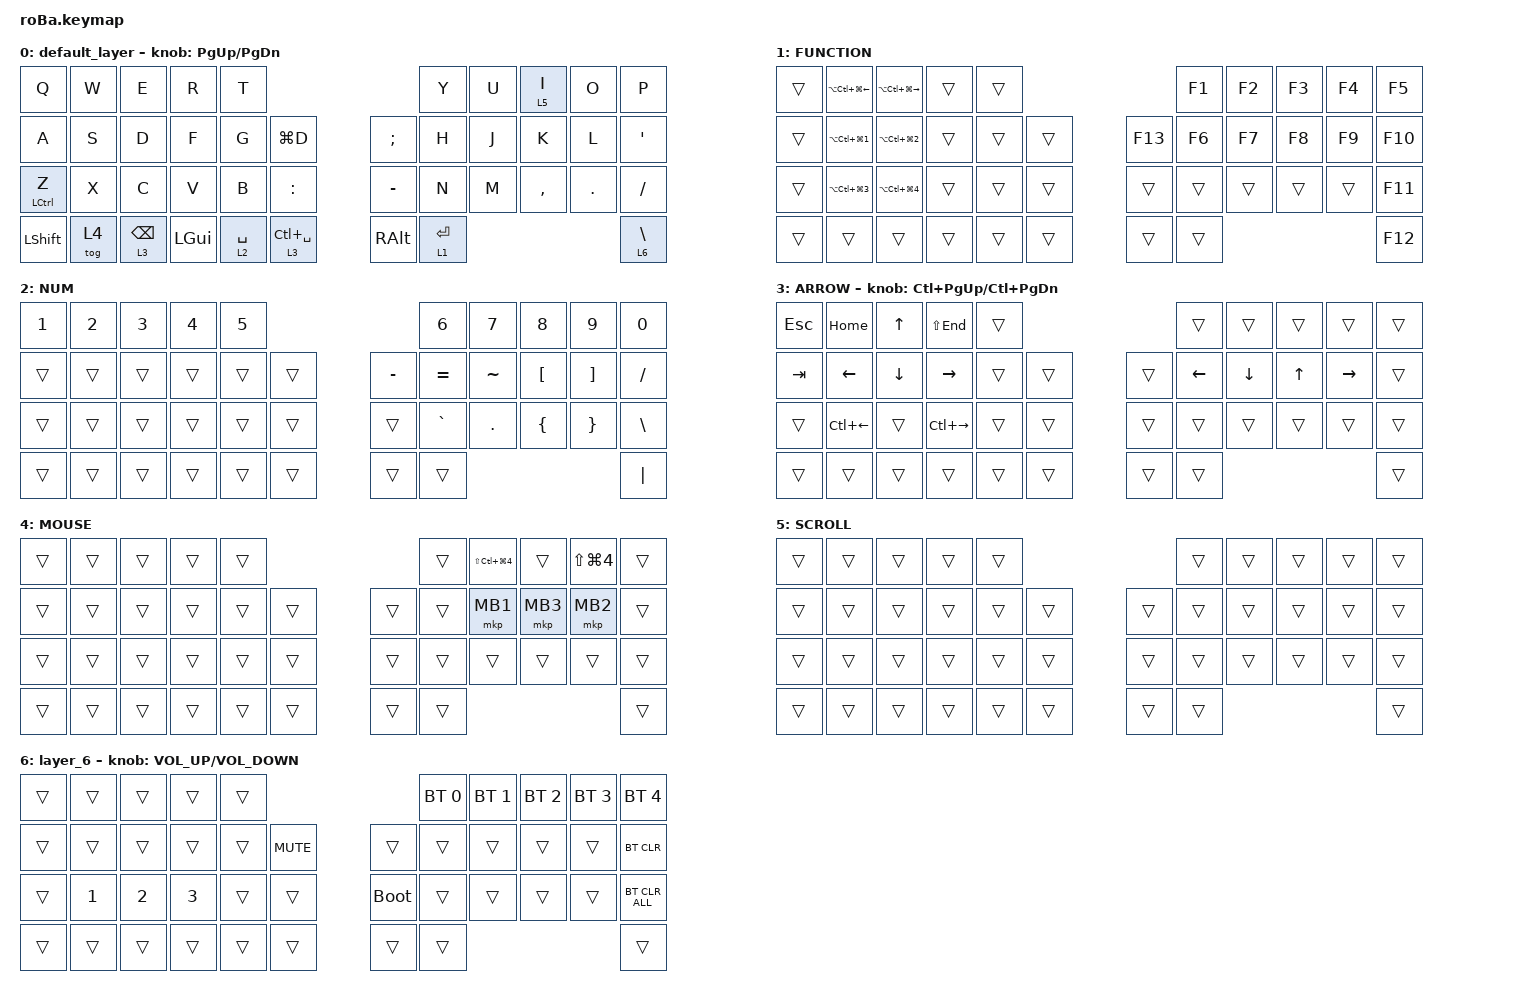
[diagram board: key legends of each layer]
#include <behaviors.dtsi>
#include <dt-bindings/zmk/bt.h>
#include <dt-bindings/zmk/keys.h>
#include <dt-bindings/zmk/pointing.h>

&mt {
    flavor = "balanced";
    quick-tap-ms = <0>;
};

&trackball {
    automouse-layer = <4>;
    scroll-layers = <5>;

    // arrows {
    //     layers = <3>;
    //     bindings =
    //         <&kp RIGHT_ARROW>,
    //         <&kp LEFT_ARROW>,
    //         <&kp UP_ARROW>,
    //         <&kp DOWN_ARROW>;
    //     tick = <10>;
    //     wait-ms = <5>;
    //     tap-ms = <5>;
    // };
};

/ {
    combos {
        compatible = "zmk,combos";

        tab {
            bindings = <&kp TAB>;
            key-positions = <11 12>;
        };

        shift_tab {
            bindings = <&kp LS(TAB)>;
            key-positions = <12 13>;
        };

        muhennkann {
            bindings = <&to_layer_0 INT_MUHENKAN>;
            key-positions = <11 10>;
        };

        double_quotation {
            bindings = <&kp DOUBLE_QUOTES>;
            key-positions = <20 21>;
        };

        eq {
            bindings = <&kp EQUAL>;
            key-positions = <24 25>;
        };
    };

    macros {
        to_layer_0: to_layer_0 {
            compatible = "zmk,behavior-macro-one-param";
            #binding-cells = <1>;
            bindings = <&to 0 &macro_param_1to1 &kp MACRO_PLACEHOLDER>;
            label = "TO_LAYER_0";
        };
    };

    behaviors {
        lt_to_layer_0: lt_to_layer_0 {
            compatible = "zmk,behavior-hold-tap";
            label = "LAYER_TAP_TO_0";
            bindings = <&mo>, <&to_layer_0>;

            #binding-cells = <2>;
            tapping-term-ms = <200>;
        };
    };

    keymap {
        compatible = "zmk,keymap";

        default_layer {
            bindings = <
&kp Q           &kp W   &kp E                       &kp R         &kp T                                                       &kp Y        &kp U  &lt 5 I    &kp O    &kp P
&kp A           &kp S   &kp D                       &kp F         &kp G        &kp LG(D)                       &kp SEMICOLON  &kp H        &kp J  &kp K      &kp L    &kp SQT
&mt LCTRL Z     &kp X   &kp C                       &kp V         &kp B        &kp COLON                       &kp MINUS      &kp N        &kp M  &kp COMMA  &kp DOT  &kp SLASH
&kp LEFT_SHIFT  &tog 4  &lt_to_layer_0 3 BACKSPACE  &kp LEFT_GUI  &lt 2 SPACE  &lt_to_layer_0 3 LC(SPACE)      &kp RIGHT_ALT  &lt 1 ENTER                             &lt 6 BACKSLASH
            >;

            sensor-bindings = <&inc_dec_kp PAGE_UP PAGE_DOWN>;
        };

        FUNCTION {
            bindings = <
&trans  &kp LA(LC(LG(LEFT_ARROW)))  &kp LA(LC(LG(RIGHT_ARROW)))  &trans  &trans                       &kp F1  &kp F2  &kp F3  &kp F4  &kp F5
&trans  &kp LA(LC(LG(NUMBER_1)))    &kp LA(LC(LG(NUMBER_2)))     &trans  &trans  &trans      &kp F13  &kp F6  &kp F7  &kp F8  &kp F9  &kp F10
&trans  &kp LA(LC(LG(NUMBER_3)))    &kp LA(LC(LG(NUMBER_4)))     &trans  &trans  &trans      &trans   &trans  &trans  &trans  &trans  &kp F11
&trans  &trans                      &trans                       &trans  &trans  &trans      &trans   &trans                          &kp F12
            >;
        };

        NUM {
            bindings = <
&kp NUMBER_1  &kp NUMBER_2  &kp NUMBER_3  &kp NUMBER_4  &kp NUMBER_5                         &kp NUMBER_6  &kp NUMBER_7  &kp N8            &kp N9             &kp NUMBER_0
&trans        &trans        &trans        &trans        &trans        &trans      &kp MINUS  &kp EQUAL     &kp TILDE     &kp LEFT_BRACKET  &kp RIGHT_BRACKET  &kp SLASH
&trans        &trans        &trans        &trans        &trans        &trans      &trans     &kp GRAVE     &kp PERIOD    &kp LEFT_BRACE    &kp RIGHT_BRACE    &kp BACKSLASH
&trans        &trans        &trans        &trans        &trans        &trans      &trans     &trans                                                           &kp PIPE
            >;
        };

        ARROW {
            bindings = <
&kp ESCAPE  &kp HOME            &kp UP_ARROW    &kp LS(END)          &trans                      &trans          &trans          &trans        &trans           &trans
&kp TAB     &kp LEFT_ARROW      &kp DOWN_ARROW  &kp RIGHT_ARROW      &trans  &trans      &trans  &kp LEFT_ARROW  &kp DOWN_ARROW  &kp UP_ARROW  &kp RIGHT_ARROW  &trans
&trans      &kp LC(LEFT_ARROW)  &trans          &kp LC(RIGHT_ARROW)  &trans  &trans      &trans  &trans          &trans          &trans        &trans           &trans
&trans      &trans              &trans          &trans               &trans  &trans      &trans  &trans                                                         &trans
            >;

            sensor-bindings = <&inc_dec_kp LC(PAGE_UP) LC(PAGE_DOWN)>;
        };

        MOUSE {
            bindings = <
&trans  &trans  &trans  &trans  &trans                      &trans  &kp LS(LC(LG(NUMBER_4)))  &trans    &kp LS(LG(NUMBER_4))  &trans
&trans  &trans  &trans  &trans  &trans  &trans      &trans  &trans  &mkp MB1                  &mkp MB3  &mkp MB2              &trans
&trans  &trans  &trans  &trans  &trans  &trans      &trans  &trans  &trans                    &trans    &trans                &trans
&trans  &trans  &trans  &trans  &trans  &trans      &trans  &trans                                                            &trans
            >;
        };

        SCROLL {
            bindings = <
&trans  &trans  &trans  &trans  &trans                      &trans  &trans  &trans  &trans  &trans
&trans  &trans  &trans  &trans  &trans  &trans      &trans  &trans  &trans  &trans  &trans  &trans
&trans  &trans  &trans  &trans  &trans  &trans      &trans  &trans  &trans  &trans  &trans  &trans
&trans  &trans  &trans  &trans  &trans  &trans      &trans  &trans                          &trans
            >;
        };

        layer_6 {
            bindings = <
&trans  &trans        &trans        &trans        &trans                               &bt BT_SEL 0  &bt BT_SEL 1  &bt BT_SEL 2  &bt BT_SEL 3  &bt BT_SEL 4
&trans  &trans        &trans        &trans        &trans  &kp C_MUTE      &trans       &trans        &trans        &trans        &trans        &bt BT_CLR
&trans  &kp NUMBER_1  &kp NUMBER_2  &kp NUMBER_3  &trans  &trans          &bootloader  &trans        &trans        &trans        &trans        &bt BT_CLR_ALL
&trans  &trans        &trans        &trans        &trans  &trans          &trans       &trans                                                  &trans
            >;

            sensor-bindings = <&inc_dec_kp C_VOLUME_UP C_VOLUME_DOWN>;
        };
    };
};
